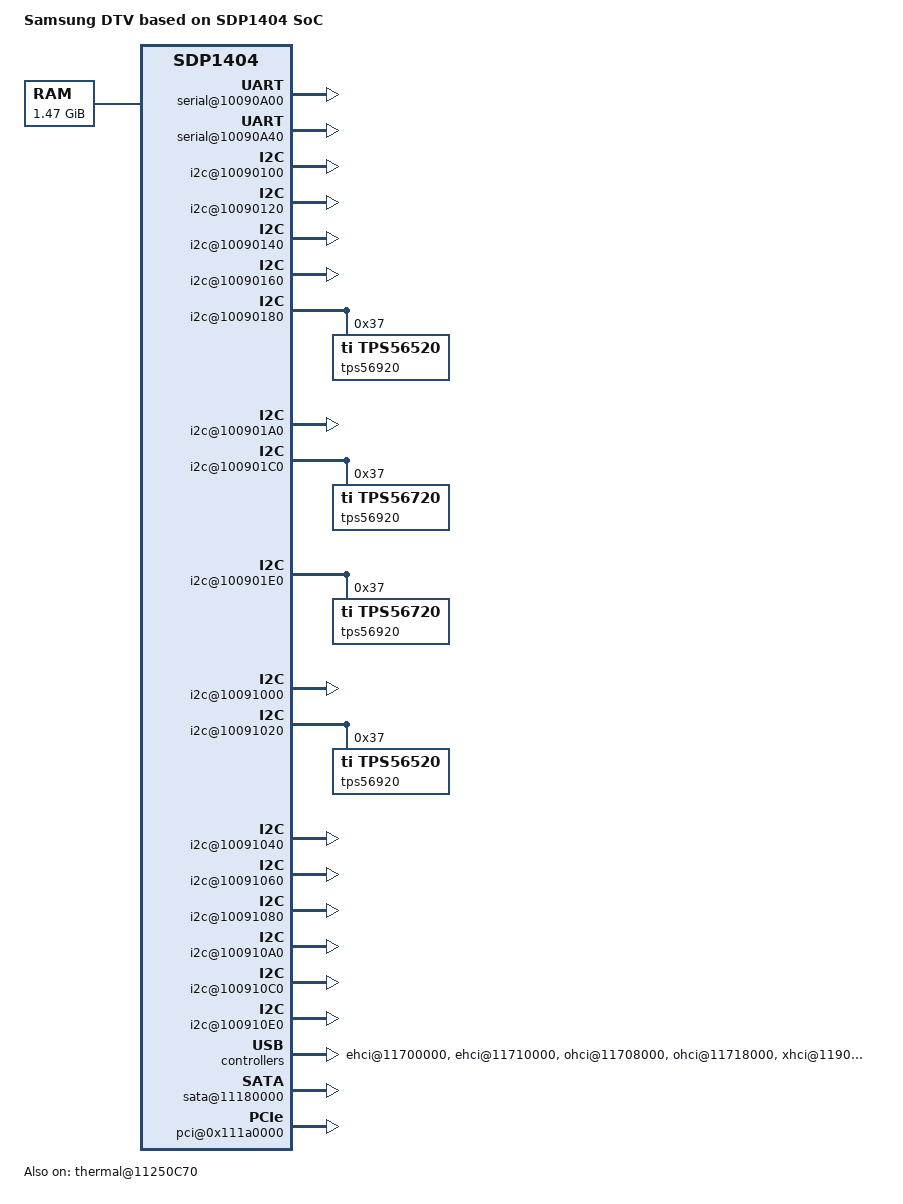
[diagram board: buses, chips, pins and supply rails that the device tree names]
/*
 * Copyright (C) 2014 Samsung Electronics Co.Ltd
 *
 * This program is free software; you can redistribute it and/or modify
 * it under the terms of the GNU General Public License version 2 as
 * published by the Free Software Foundation.
 */

/dts-v1/;
#include "sdp1404.dtsi"

/ {
	model = "Samsung DTV based on SDP1404 SoC";
	compatible = "samsung,dtv", "samsung,sdp1404";

	memory {
		device_type = "memory";
		reg =  <0xB2000000 0x5E000000>;
	};

	chosen {
		bootargs = "console=ttyS0,115200N8 root=/dev/mmcblk0p3 rootfstype=squashfs rootwait earlyprintk vmalloc=400M";
	};

	cpus {
		#address-cells = <1>;
		#size-cells = <0>;

		cpu@0 {
			device_type = "cpu";
			compatible = "arm,cortex-a15";
			reg = <0>;
			cluster = <&cluster0>;
			core = <&core0>;
			clock-frequency = <1300000000>;
//			cci-control-port = <&cci_control1>;
		};
		cpu@1 {
			device_type = "cpu";
			compatible = "arm,cortex-a15";
			reg = <1>;
			cluster = <&cluster0>;
			core = <&core1>;
			clock-frequency = <1300000000>;
//			cci-control-port = <&cci_control1>;
		};

		cpu@2 {
			device_type = "cpu";
			compatible = "arm,cortex-a15";
			reg = <2>;
			cluster = <&cluster0>;
			core = <&core2>;
			clock-frequency = <1300000000>;
//			cci-control-port = <&cci_control1>;
		};

		cpu@3 {
			device_type = "cpu";
			compatible = "arm,cortex-a15";
			reg = <3>;
			cluster = <&cluster0>;
			core = <&core3>;
			clock-frequency = <1300000000>;
//			cci-control-port = <&cci_control1>;
		};
		
		cpu@4 {
			device_type = "cpu";
			compatible = "arm,cortex-a7";
			reg = <0x100>;
			cluster = <&cluster1>;
			core = <&core4>;
			clock-frequency = <1000000000>;
//			cci-control-port = <&cci_control2>;
		};
		cpu@5 {
			device_type = "cpu";
			compatible = "arm,cortex-a7";
			reg = <0x101>;
			cluster = <&cluster1>;
			core = <&core5>;
			clock-frequency = <1000000000>;
//			cci-control-port = <&cci_control2>;
		};

		cpu@6 {
			device_type = "cpu";
			compatible = "arm,cortex-a7";
			reg = <0x102>;
			cluster = <&cluster1>;
			core = <&core6>;
			clock-frequency = <1000000000>;
//			cci-control-port = <&cci_control2>;
		};

		cpu@7 {
			device_type = "cpu";
			compatible = "arm,cortex-a7";
			reg = <0x103>;
			cluster = <&cluster1>;
			core = <&core7>;
			clock-frequency = <1000000000>;
//			cci-control-port = <&cci_control2>;
		};

	};

	fixed-rate-clocks {
		fin {
			compatible = "samsung,sdp-clock-fin";
			clock-frequency = <24576000>;
		};
		fin-lvds {
			compatible = "samsung,sdp-clock-fin-lvds";
			clock-frequency = <148500000>;
		};
	};
	
	pinctrl{
		compatible = "samsung,sdp-pinctrl";
		reg = <0x11250C00 0x2f0
			0x1AB01000  0x270>;
		start-offset = <0x118 0x194>;
		nr-banks = <27 12>;	
		model-sel = <1 1>;
		us-check = <0x11250D20 0x1>; // eval
	};

	serial@10090A00 {
		status = "okay";
	};
	
	serial@10090A40 {
		status = "okay";
	};

	i2c@10090100 {
		status = "okay";
		samsung,i2c-sda-delay = <2>;
		samsung,i2c-max-bus-freq = <400000>;
		samsung,i2c-irq-status-reg = <0x100901F4>;
		samsung,i2c-cpu-affinity = <3>;
	};

	i2c@10090120 {
		status = "okay";
		samsung,i2c-sda-delay = <2>;
		samsung,i2c-max-bus-freq = <400000>;
		samsung,i2c-irq-status-reg = <0x100901F4>;
		samsung,i2c-cpu-affinity = <3>;
	};

	i2c@10090140 { 
		status = "okay";
		samsung,i2c-sda-delay = <2>;
		samsung,i2c-max-bus-freq = <400000>;
		samsung,i2c-irq-status-reg = <0x100901F4>;
		samsung,i2c-cpu-affinity = <3>;
	};

	i2c@10090160 {
		status = "okay";
		samsung,i2c-sda-delay = <2>;
		samsung,i2c-max-bus-freq = <400000>;
		samsung,i2c-irq-status-reg = <0x100901F4>;
		samsung,i2c-cpu-affinity = <3>;
	};

	i2c@10090180 {
		status = "okay";
		samsung,i2c-sda-delay = <2>;
		samsung,i2c-max-bus-freq = <400000>;
		samsung,i2c-irq-status-reg = <0x100901F4>;
		samsung,i2c-cpu-affinity = <3>;

		tps56920@37 {
			compatible = "ti,tps56520";
			reg = <0x37>;

			regulator-name = "CPU_LT_PW";
			regulator-min-microvolt = <600000>;
			regulator-max-microvolt = <1870000>;
			regulator-always-on;
			regulator-boot-on;

			default_volt = <1130000>;
		};
	};

	i2c@100901A0 {
		status = "okay";
		samsung,i2c-sda-delay = <2>;
		samsung,i2c-max-bus-freq = <400000>;
		samsung,i2c-irq-status-reg = <0x100901F4>;
		samsung,i2c-cpu-affinity = <3>;
	};

	i2c@100901C0 {
		status = "okay";
		samsung,i2c-sda-delay = <2>;
		samsung,i2c-max-bus-freq = <400000>;
		samsung,i2c-irq-status-reg = <0x100901F4>;
		samsung,i2c-cpu-affinity = <3>;

		tps56920@37 {
			compatible = "ti,tps56720";
			reg = <0x37>;

			regulator-name = "CPU_BIG_PW";
			regulator-min-microvolt = <600000>;
			regulator-max-microvolt = <1870000>;
			regulator-always-on;
			regulator-boot-on;

			default_volt = <1130000>;
		};
	};

	i2c@100901E0 {
		status = "okay";
		samsung,i2c-sda-delay = <2>;
		samsung,i2c-max-bus-freq = <400000>;
		samsung,i2c-irq-status-reg = <0x100901F4>;
		samsung,i2c-cpu-affinity = <3>;

		tps56920@37 {
			compatible = "ti,tps56720";
			reg = <0x37>;

			regulator-name = "GPU_LOG_PW";
			regulator-min-microvolt = <600000>;
			regulator-max-microvolt = <1870000>;
			regulator-always-on;
			regulator-boot-on;

			default_volt = <1100000>;
		};
	};

	i2c@10091000 {
		status = "okay";
		samsung,i2c-sda-delay = <2>;
		samsung,i2c-max-bus-freq = <400000>;
		samsung,i2c-irq-status-reg = <0x100910F4>;
		samsung,i2c-cpu-affinity = <3>;
	};

	i2c@10091020 {
		status = "okay";
		samsung,i2c-sda-delay = <2>;
		samsung,i2c-max-bus-freq = <400000>;
		samsung,i2c-irq-status-reg = <0x100910F4>;
		samsung,i2c-pad-enable = <0x11250C40 0x800000>;
		samsung,i2c-cpu-affinity = <3>;
		
		tps56920@37 {
			compatible = "ti,tps56520";
			reg = <0x37>;

			regulator-name = "GPU_MEM_PW";
			regulator-min-microvolt = <600000>;
			regulator-max-microvolt = <1870000>;
			regulator-always-on;
			regulator-boot-on;

			default_volt = <1100000>;
		};
	};

	i2c@10091040 { 
		status = "okay";
		samsung,i2c-sda-delay = <2>;
		samsung,i2c-max-bus-freq = <400000>;
		samsung,i2c-irq-status-reg = <0x100910F4>;
	//	samsung,i2c-pad-enable = <0x10030000 0x80000000>;// Mux HS
		samsung,i2c-cpu-affinity = <3>;
	};

	i2c@10091060 {
		status = "okay";
		samsung,i2c-sda-delay = <2>;
		samsung,i2c-max-bus-freq = <400000>;
		samsung,i2c-irq-status-reg = <0x100910F4>;
		samsung,i2c-pad-enable = <0x11250C40 0x1000000>;
		samsung,i2c-cpu-affinity = <3>;
	};

	i2c@10091080 {
		status = "okay";
		samsung,i2c-sda-delay = <2>;
		samsung,i2c-max-bus-freq = <400000>;
		samsung,i2c-irq-status-reg = <0x100910F4>;
		samsung,i2c-pad-enable = <0x11250C40 0x2000000>;
		samsung,i2c-cpu-affinity = <3>;
	};

	i2c@100910A0 {
		status = "okay";
		samsung,i2c-sda-delay = <2>;
		samsung,i2c-max-bus-freq = <400000>;
		samsung,i2c-irq-status-reg = <0x100910F4>;
		samsung,i2c-cpu-affinity = <3>;
	};

	i2c@100910C0 {
		status = "okay";
		samsung,i2c-sda-delay = <2>;
		samsung,i2c-max-bus-freq = <400000>;
		samsung,i2c-irq-status-reg = <0x100910F4>;
		samsung,i2c-pad-enable = <0x11250C44 0x8000000>;
		samsung,i2c-cpu-affinity = <3>;
	};

	i2c@100910E0 {
		status = "okay";
		samsung,i2c-sda-delay = <2>;
		samsung,i2c-max-bus-freq = <400000>;
		samsung,i2c-irq-status-reg = <0x100910F4>;
		samsung,i2c-pad-enable = <0x11250C44 0x10000000>;
		samsung,i2c-cpu-affinity = <3>;

	};
/*	
	i2c@10090000 {
		status = "okay";
		samsung,i2c-hs-sel = <0x10030000 0x80000000>;
		samsung,i2c-hs-fifosize = <64>;
	//	samsung,i2c-sda-delay = <1>;
		samsung,i2c-hs-bus-freq = <1000000>;
	//	samsung,i2c-irq-status-reg = <0x100901F4>;
		samsung,i2c-cpu-affinity = <3>;
	};
*/
	mmc {
//		min-max-clock = <400000 200000000>;
		/* Host Caps */
		ddr50;
		hs200;
		hs200-tuning;
//		hs400;
		//mmc-hs400-1_8v;
		//mmc-hs400-1_2v;
	};

	gadma@18B40000 {
		status = "okay";
	};
	dummy_panel {                          
			compatible = "dummy_panel";    

			display-timings {              
				native-mode = <&timing0>;  

				timing0: timing-0 {        
								 clock-frequency = <0>; 
								 hactive = <1920>;      
								 vactive = <1080>;      
								 hfront-porch = <0>;    
								 hback-porch = <0>;     
								 hsync-len = <0>;       
								 vfront-porch = <0>;    
								 vback-porch = <0>;     
								 vsync-len = <0>;       
		 	};                             
		};                                 
	};


	ehci@11700000 {
		status = "okay";
		samsung,sw-reset = <0x11250000 0x8B4 0x20000>;
		samsung,ehci-gpr_reg = <0x1170C000 0x04 0x7000>;
		samsung,ehci-gpr_reg1 = <0x1170C000 0x0C 0x100C0>;
		samsung,sw-reset-release = <0x11250000 0x8B4 0x20000>;
	};

	ehci@11710000 {
		status = "okay";
		samsung,sw-reset = <0x11250000 0x8B4 0x40000>;
		samsung,ehci-gpr_reg = <0x1170C000 0x18 0x7000>;
		samsung,ehci-gpr_reg1 = <0x1170C000 0x20 0x100C0>;
		samsung,sw-reset-release = <0x11250000 0x8B4 0x40000>;
	};

	ohci@11708000 {
		status = "okay";
	};

	ohci@11718000 {
		status = "okay";
	};

	xhci@11900000 {
		status = "okay";
	};

	extint@0x1AD91000 {
		have_extint = <0x11250D20 0x1 0x1>;
		interrupts = <0 165 0>;
		initregs = <0x11250C48 0x20 0x20>;   /* Externel Interrupt Enable */
		status = "okay";
	};

	unzip {
		status = "okay";
	};

	tempsensor@1ab00300 {
		compatible = "samsung,sdp-tempsensor";
		reg = <0x1ab00300 0x40>;
		sampling_rate = <2000>;
	};

	thermal@11250C70 {
		status = "okay";
		compatible = "samsung,sdp-thermal";

		reg = <0x11250C70 0x30>;

		sensor_id = <0>;

		start_cold_throttle	= <40>;
		stop_cold_throttle	= <45>;
		stop_1st_throttle	= <102>;
		start_1st_throttle	= <110>;
		stop_2nd_throttle	= <112>;
		start_2nd_throttle	= <118>;
		stop_3rd_throttle	= <120>;
		start_3rd_throttle	= <125>;
		start_3rd_hotplug	= <130>;

		cpu_limit_1st_throttle	= <1000000>;
		cpu_limit_2nd_throttle	= <700000>;
		cpu_limit_3rd_throttle	= <100000>;

		cpu_lt_limit_1st_throttle = <1000000>;
		cpu_lt_limit_2nd_throttle = <1000000>;
		cpu_lt_limit_3rd_throttle = <1000000>;

		gpu_limit_1st_throttle	= <200000>;
		gpu_limit_2nd_throttle	= <200000>;
		gpu_limit_3rd_throttle	= <100000>;

		log_file_path = "/rwarea/ThermalThrottle.txt";
	};
	sata@11180000 {
		status = "okay";
	};
	sdp_mfc@18680000 {
		samsung,bus-mode = "2bus-a";
		samsung,fw-name = "sdp_mfc/ucode-mfc.fw";
		samsung,fw-size = <0x300000>;
		/*
		* FIXME
		* maybe these addresses are configurable.
		* if so, please remove them.
		*/
		samsung,dram-base-a = <0x92D00000>;
		samsung,dram-base-b = <0x20000000>;
		samsung,dram-size-a = <0x07800000>;
		samsung,dram-size-b = <0x0B600000>;
		xmif_a_reg = <0x18418700>;
		xmif_b_reg = <0x18438700>;
		xmif_c_reg = <0x18458700>;
	};

sdp_hen@186D0000 {
		samsung,fw-name = "sdp_hen/ucode-hen.fw";
		samsung,fw-size = <0x100000>;
		samsung,dram-base-a = <0x28000000>;
		samsung,dram-base-b = <0x28E00000>;
		samsung,src-base = <0x29F00000>;
};	

        sdp_jpeg@186A0000 {
                samsung,sdp-jpeg-mem-fhd  = <0x29300000 0x00100000 0x2a000000 0x2a220000 0x2a440000 0x2a660000 0x98100000 0x98980000 0x99200000 0x99a80000>;
                samsung,sdp-jpeg-mem-uhd  = <0x9a300000 0x00800000 0x20200000 0x20a80000 0x21300000 0x21B80000 0x9c300000 0x9e500000 0x22400000 0x24600000>;
                samsung,sdp-mjpeg-mem-fhd = <0x98100000 0x00400000 0x98500000 0x98d80000 0x0 0x0 0x0 0x0 0x0 0x0>;
                samsung,sdp-mjpeg-mem-uhd = <0x9a300000 0x00400000 0x9ab00000 0x9de00000 0x0 0x0 0x0 0x0 0x0 0x0>;
        };
        sdp_jpeg@186B0000 {
                samsung,sdp-jpeg-mem-fhd  = <0x0 0x0 0x0 0x0 0x0 0x0 0x0 0x0 0x0 0x0>;
                samsung,sdp-jpeg-mem-uhd  = <0x0 0x0 0x0 0x0 0x0 0x0 0x0 0x0 0x0 0x0>;
                samsung,sdp-mjpeg-mem-fhd = <0x0 0x0 0x0 0x0 0x0 0x0 0x0 0x0 0x0 0x0>;
                samsung,sdp-mjpeg-mem-uhd = <0x9a700000 0x00400000 0x9c480000 0x9f780000 0x0 0x0 0x0 0x0 0x0 0x0>;
        };
	
	sdp_hevc@18560000 {
		samsung,fw-name = "sdp_hevc/ucode-hevc.fw";
		samsung,fw-size = <0x200000>;
 		samsung,dram-base-a = <0x20000000>;
		samsung,dram-base-b = <0x9a300000>;
		samsung,ycmem-base-y = <0x92f00000 0x2b00000>;
		samsung,ycmem-base-c = <0x2f2f4000 0x2b00000>;
		samsung,cap-base-y = <0xaca00000 0x880000>;
		samsung,cap-base-c = <0xad280000 0x880000>;
	};	

	sdp_uddec@18700000 {
		samsung,bus-mode = "2bus-a";
		samsung,dram-base-a = <0x95a00000>;
		samsung,dram-base-b = <0x20000000>;
	};

	pci@0x111a0000 {
		reg = < 0x111a0000 0x1000
				0x111a2000 0x1000 >;
		samsung,pcie-phy-gpr = <0x11160000 0x11170000>;
		samsung,pcie-clock-on = <0x1125091c 0x20000000>;
		interrupts = <0 45 0>;
		device_type = "pci";
		bus-range = <0x0 0x0>;
		#address-cells = <3>;
		#size-cells = <2>;
		ranges = <0x00000800 0 0xC0000000 0x20000000 0 0x2000   /* configuration space */
			  0x81000000 0 0	  0 0 0   /* I/O */
			  0x82000000 0 0xC1000000 0x20002000 0 0xfffe000>; /* non-prefetchable memory */
		status = "okay";
	};
	
};
